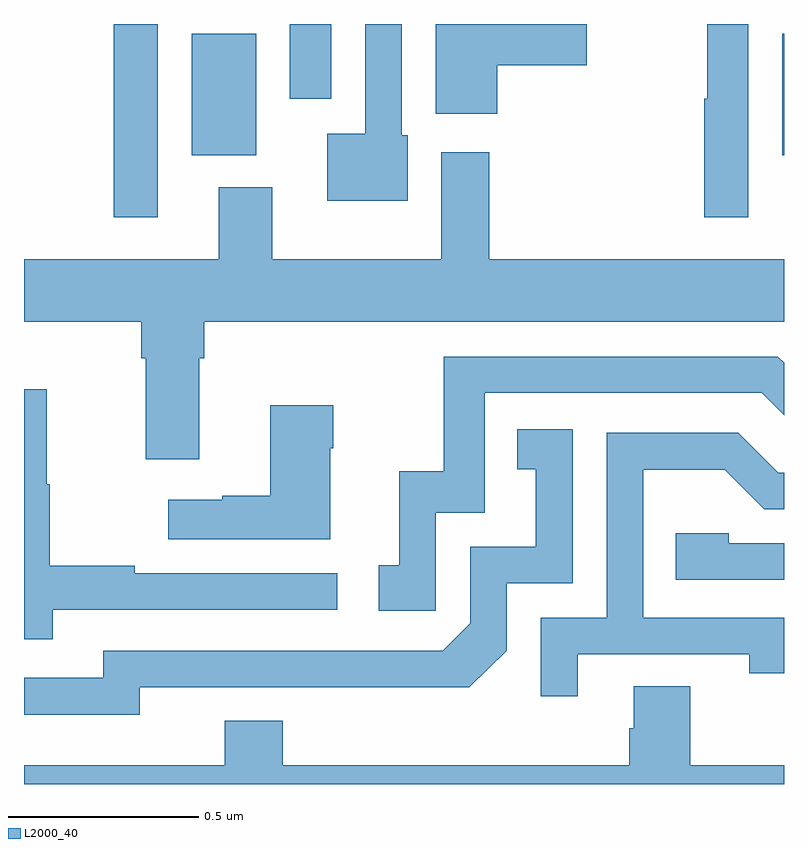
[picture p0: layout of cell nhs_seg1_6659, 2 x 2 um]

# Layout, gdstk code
import gdstk
lib = gdstk.Library(unit=1e-6, precision=1e-09)
def R(c, l, rs):  # rectangles x0, y0, x1, y1
    for r in rs: c.add(gdstk.rectangle(r[:2], r[2:], *l))
def P(c, l, *ps):  # polygons
    for p in ps: c.add(gdstk.Polygon(p, *l))
L2000_40 = (2000, 40)

nhs_seg1_6659 = lib.new_cell('nhs_seg1_6659')
R(nhs_seg1_6659, L2000_40, [(194.236,534.69,194.352,535.199), (194.441,534.854,194.611,535.174), (195.995,534.854,196,535.174), (194.699,535.002,194.809,535.199)])
P(nhs_seg1_6659, L2000_40, [(195.01,534.906),(194.994,534.906),(194.994,535.199),(194.898,535.199),(194.898,534.91),(194.798,534.91),(194.798,534.734),(195.01,534.734)],
  [(195.245,535.091),(195.481,535.091),(195.481,535.199),(195.083,535.199),(195.083,534.963),(195.245,534.963)],
  [(195.906,535.199),(195.798,535.199),(195.798,535.002),(195.79,535.002),(195.79,534.69),(195.906,534.69)],
  [(194.461,534.32),(194.474,534.32),(194.474,534.416),(196,534.416),(196,534.58),(195.224,534.58),(195.224,534.862),(195.098,534.862),(195.098,534.58),(194.653,534.58),(194.653,534.769),(194.513,534.769),(194.513,534.58),(194,534.58),(194,534.416),(194.309,534.416),(194.309,534.32),(194.321,534.32),(194.321,534.054),(194.461,534.054)],
  [(195.084,533.913),(195.213,533.913),(195.213,534.228),(195.942,534.228),(196,534.17),(196,534.308),(195.984,534.324),(195.105,534.324),(195.105,534.022),(194.987,534.022),(194.987,533.775),(194.934,533.775),(194.934,533.655),(195.084,533.655)],
  [(194.075,533.658),(194.824,533.658),(194.824,533.754),(194.291,533.754),(194.291,533.774),(194.068,533.774),(194.068,533.988),(194.06,533.988),(194.06,534.238),(194,534.238),(194,533.58),(194.075,533.58)],
  [(194.806,534.083),(194.814,534.083),(194.814,534.196),(194.648,534.196),(194.648,533.957),(194.522,533.957),(194.522,533.947),(194.379,533.947),(194.379,533.843),(194.806,533.843)],
  [(194.304,533.454),(194.764,533.454),(194.764,533.453),(195.172,533.453),(195.27,533.55),(195.27,533.727),(195.444,533.727),(195.444,534.133),(195.298,534.133),(195.298,534.027),(195.347,534.027),(195.347,533.823),(195.174,533.823),(195.174,533.622),(195.102,533.55),(194.208,533.55),(194.208,533.478),(194,533.478),(194,533.381),(194.304,533.381)],
  [(195.457,533.541),(195.908,533.541),(195.908,533.49),(196,533.49),(196,533.637),(195.63,533.637),(195.63,534.026),(195.844,534.026),(195.948,533.922),(196,533.922),(196,534.018),(195.985,534.018),(195.88,534.123),(195.534,534.123),(195.534,533.637),(195.36,533.637),(195.36,533.43),(195.457,533.43)],
  [(196,533.832),(195.855,533.832),(195.855,533.859),(195.715,533.859),(195.715,533.736),(196,533.736)],
  [(196,533.248),(195.753,533.248),(195.753,533.456),(195.605,533.456),(195.605,533.346),(195.593,533.346),(195.593,533.248),(194.681,533.248),(194.681,533.365),(194.528,533.365),(194.528,533.248),(194,533.248),(194,533.199),(196,533.199)])

lib.write_gds('nhs_seg1_6659.gds')
